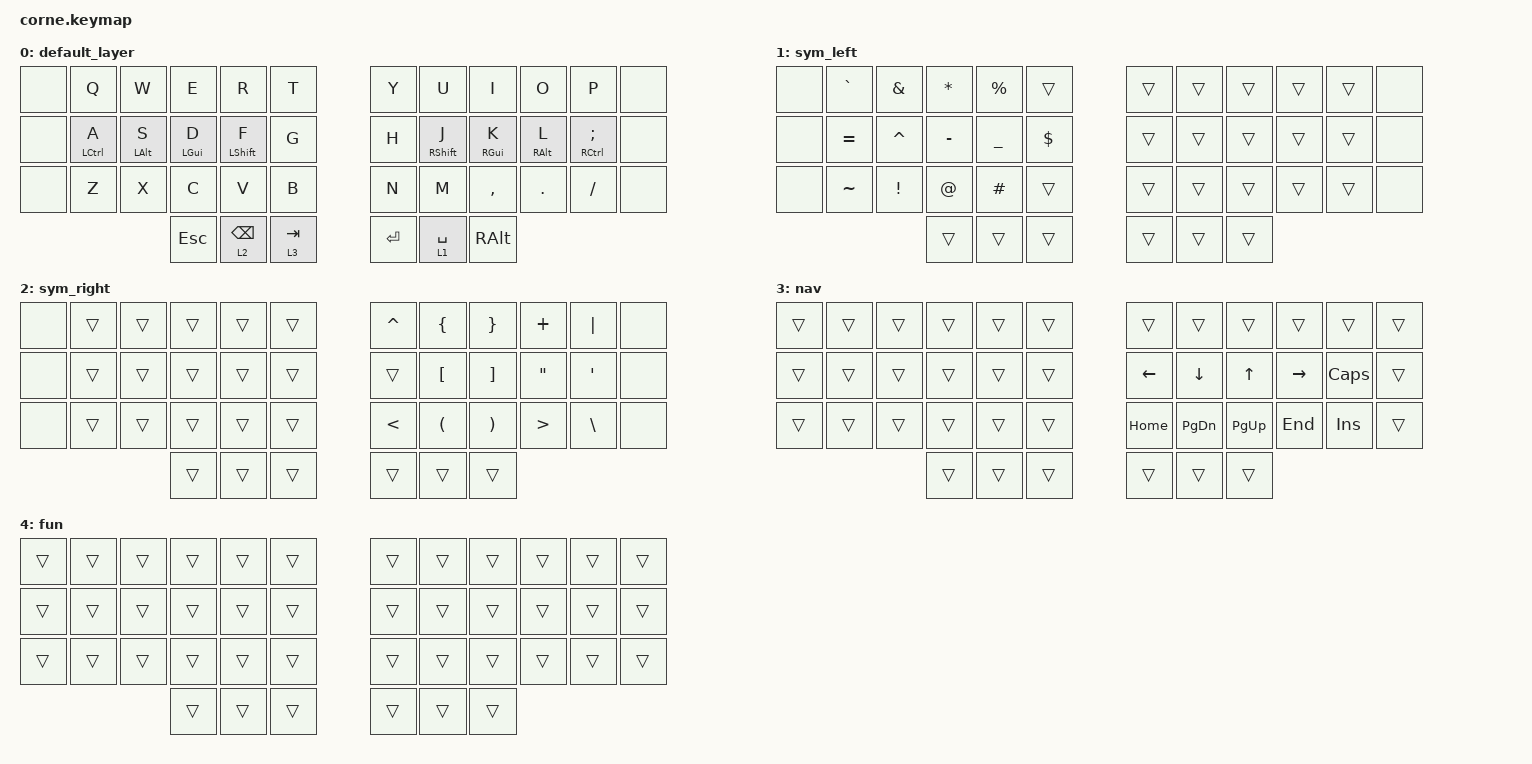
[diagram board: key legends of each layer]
/*
 * Copyright (c) 2020 The ZMK Contributors
 *
 * SPDX-License-Identifier: MIT
 */


#include <behaviors.dtsi>
#include <dt-bindings/zmk/keys.h>

#include "zmk-helpers/key-labels/42.h"                                                  // Source key-labels.
#define KEYS_L LT0 LT1 LT2 LT3 LT4 LT5 LM0 LM1 LM2 LM3 LM4 LM5 LB0 LB1 LB2 LB3 LB4 LB5  // Left-hand keys.
#define KEYS_R RT0 RT1 RT2 RT3 RT4 RT5 RM0 RM1 RM2 RM3 RM4 RM5 RB0 RB1 RB2 RB3 RB4 RB5  // Right-hand keys.
#define THUMBS LH2 LH1 LH0 RH0 RH1 RH2                                                  // Thumb keys.

/ {
    combos {
        compatible = "zmk,combos";

        jk_apostrophe {
            bindings = <&mt LG(LSHFT) APOS>;
            key-positions = <19 20>;
        };
    };

    behaviors {
        hml: home_row_mod_left {
        compatible = "zmk,behavior-hold-tap";
        #binding-cells = <2>;

        flavor = "balanced";
        tapping-term-ms = <280>;
        quick-tap-ms = <175>;
        require-prior-idle-ms = <150>;

        bindings = <&kp>, <&kp>;
        hold-trigger-key-positions = <KEYS_R THUMBS>;
        hold-trigger-on-release;
    };
        hmr: home_row_mod_right {
            compatible = "zmk,behavior-hold-tap";
            #binding-cells = <2>;
            flavor = "balanced";
            tapping-term-ms = <280>;
            quick-tap-ms = <175>;
            require-prior-idle-ms = <150>;
            bindings = <&kp>, <&kp>;
            hold-trigger-key-positions = <KEYS_L THUMBS>;
            hold-trigger-on-release;
        };
    };

    keymap {
        compatible = "zmk,keymap";

        default_layer {
            bindings = <
&none  &kp Q                &kp W            &kp E            &kp R              &kp T        &kp Y    &kp U               &kp I             &kp O             &kp P                         &none
&none  &hml LEFT_CONTROL A  &hml LEFT_ALT S  &hml LEFT_GUI D  &hml LEFT_SHIFT F  &kp G        &kp H    &hmr RIGHT_SHIFT J  &hmr RIGHT_GUI K  &hmr RIGHT_ALT L  &hmr RIGHT_CONTROL SEMICOLON  &none
&none  &kp Z                &kp X            &kp C            &kp V              &kp B        &kp N    &kp M               &kp COMMA         &kp DOT           &kp FSLH                      &none
                                             &kp ESCAPE       &lt 2 BACKSPACE    &lt 3 TAB    &kp RET  &lt 1 SPACE         &kp RALT
            >;
        };

        sym_left {
            bindings = <
&none  &kp GRAVE  &kp AMPS   &kp ASTRK  &kp PERCENT     &trans        &trans  &trans  &trans  &trans  &trans  &none
&none  &kp EQUAL  &kp CARET  &kp MINUS  &kp UNDERSCORE  &kp DOLLAR    &trans  &trans  &trans  &trans  &trans  &none
&none  &kp TILDE  &kp EXCL   &kp AT     &kp HASH        &trans        &trans  &trans  &trans  &trans  &trans  &none
                             &trans     &trans          &trans        &trans  &trans  &trans
            >;
        };

        sym_right {
            bindings = <
&none  &trans  &trans  &trans  &trans  &trans    &kp CARET      &kp LEFT_BRACE        &kp RIGHT_BRACE        &kp PLUS           &kp PIPE       &none
&none  &trans  &trans  &trans  &trans  &trans    &trans         &kp LEFT_BRACKET      &kp RIGHT_BRACKET      &kp DOUBLE_QUOTES  &kp SQT        &none
&none  &trans  &trans  &trans  &trans  &trans    &kp LESS_THAN  &kp LEFT_PARENTHESIS  &kp RIGHT_PARENTHESIS  &kp GREATER_THAN   &kp BACKSLASH  &none
                       &trans  &trans  &trans    &trans         &trans                &trans
            >;
        };

        nav {
            bindings = <
&trans  &trans  &trans  &trans  &trans  &trans    &trans          &trans         &trans       &trans     &trans    &trans
&trans  &trans  &trans  &trans  &trans  &trans    &kp LEFT_ARROW  &kp DOWN       &kp UP       &kp RIGHT  &kp CAPS  &trans
&trans  &trans  &trans  &trans  &trans  &trans    &kp HOME        &kp PAGE_DOWN  &kp PAGE_UP  &kp END    &kp INS   &trans
                        &trans  &trans  &trans    &trans          &trans         &trans
            >;
        };

        fun {
            bindings = <
&trans  &trans  &trans  &trans  &trans  &trans    &trans  &trans  &trans  &trans  &trans  &trans
&trans  &trans  &trans  &trans  &trans  &trans    &trans  &trans  &trans  &trans  &trans  &trans
&trans  &trans  &trans  &trans  &trans  &trans    &trans  &trans  &trans  &trans  &trans  &trans
                        &trans  &trans  &trans    &trans  &trans  &trans
            >;
        };
    };
};
